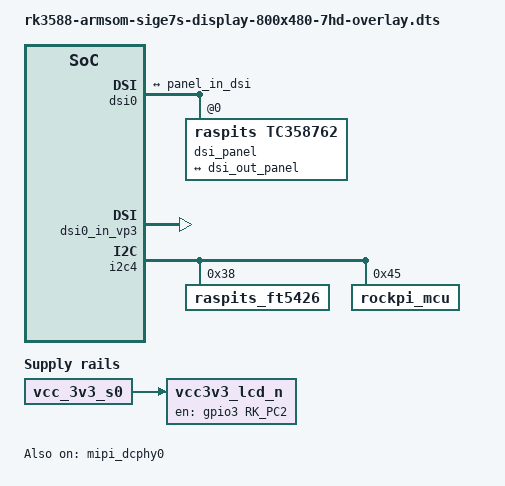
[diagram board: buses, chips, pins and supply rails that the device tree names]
/dts-v1/;
/plugin/;

#include <dt-bindings/interrupt-controller/irq.h>
#include <dt-bindings/gpio/gpio.h>
#include <dt-bindings/pinctrl/rockchip.h>
#include <dt-bindings/display/drm_mipi_dsi.h>
#include <dt-bindings/display/rockchip_vop.h>

/ {
	fragment@0 {
		target-path = "/";

		__overlay__ {
			vcc3v3_lcd_n: vcc3v3-lcd0-n {
				compatible = "regulator-fixed";
				regulator-name = "vcc3v3_lcd0_n";
				regulator-boot-on;
				regulator-always-on;
				enable-active-high;
				gpio = <&gpio3 RK_PC2 GPIO_ACTIVE_HIGH>;
				vin-supply = <&vcc_3v3_s0>;
			};			
		};
	};

	fragment@1 {
		target = <&dsi0>;

		__overlay__ {
			status = "okay";
			dsi_panel: dsi-panel@0 {
				compatible = "raspits,tc358762";
				reg = <0x0>;
				status = "okay";

				ports {
					#address-cells = <1>;
					#size-cells = <0>;

					port@0 {
						reg = <0>;
						panel_in_dsi: endpoint {
							remote-endpoint = <&dsi_out_panel>;
						};
					};
				};
			};

			ports {
				#address-cells = <1>;
				#size-cells = <0>;

				port@1 {
					reg = <1>;
					dsi_out_panel: endpoint {
						remote-endpoint = <&panel_in_dsi>;
					};
				};
			};
		};
	};

	fragment@2 {
		target = <&mipi_dcphy0>;

		__overlay__ {
			status = "okay";
		};
	};


	fragment@3 {
		target = <&route_dsi0>;

		__overlay__ {
			status = "disabled";
			connect = <&vp3_out_dsi0>;
		};
	};

	fragment@4 {
		target = <&dsi0_in_vp3>;

		__overlay__ {
			status = "okay";
		};
	};

	fragment@5 {
		target = <&i2c4>;

		__overlay__ {
			status = "okay";
			pinctrl-names = "default";
			pinctrl-0 = <&i2c4m3_xfer>;

			raspits_ft5426: raspits_ft5426@38 {
				compatible = "raspits_ft5426";
				reg = <0x38>;
			};

			rockpi_mcu: rockpi-mcu@45 {
				compatible = "rockpi_mcu";
				reg = <0x45>;
			};
		
		};
	};

};
